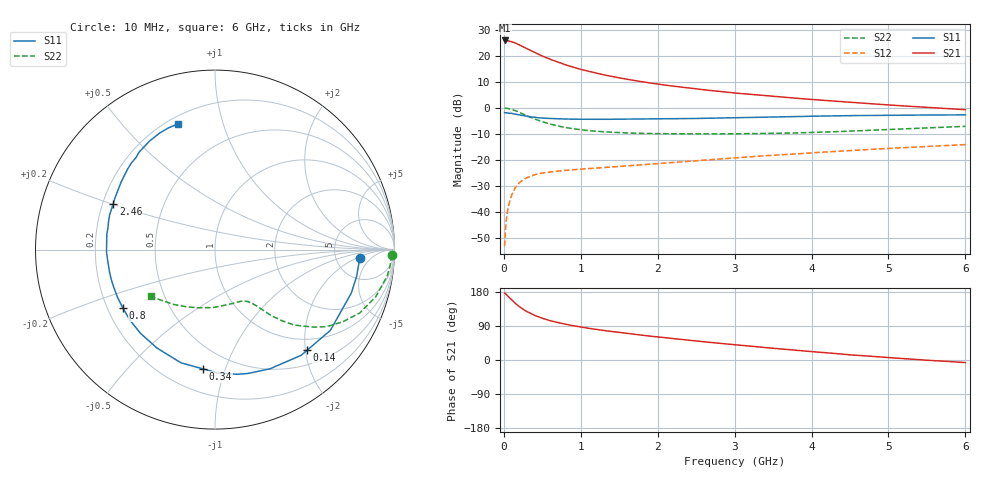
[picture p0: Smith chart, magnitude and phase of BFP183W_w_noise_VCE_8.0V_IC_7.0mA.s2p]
! Infineon Technologies  Discrete & RF Semiconductors
! BFP183W
! VCE = 8.0 V,  IC =  7.0 mA
! Common Emitter S-Parameters:  Jan 2016
# GHz  S  MA  R  50
!  f  S11  S21  S12  S22
! GHz  MAG  ANG  MAG  ANG  MAG  ANG  MAG  ANG
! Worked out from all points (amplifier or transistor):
!   210 points, 10 MHz to 6 GHz, reference 50 ohm
!   highest |S21| = 25.8 dB at 10 MHz (marker M1)
!   |S21| within 3 dB of that: start of sweep to 290.5 MHz
!   unconditionally stable (mu >= 1): 1.64 GHz to 5.863 GHz
!   at 185 MHz: K = 0.17, MSG = 26.9 dB, |S12| = -29.4 dB
!   at 1.52 GHz: K = 0.96, MSG = 16.9 dB, |S12| = -22.5 dB
!   at 6 GHz: K = 0.99, MSG = 6.7 dB, |S12| = -14.1 dB
!   lowest NFmin = 1.25 dB at 450 MHz
!   S11 on the Smith chart (normalised r, x): 10 MHz: 8.70, -2.47; 140 MHz: 0.76, -2.03; 340 MHz: 0.35, -0.84; 800 MHz: 0.26, -0.27; 2.46 GHz: 0.24, +0.20; 6 GHz: 0.24, +0.72
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0.01  0.8079 -3.5  19.6 176.6  0.0022 85.1  0.9867 -1.8
0.02  0.8035 -7.2  19.56 175.5  0.0043 84.1  0.9812 -3.5
0.05  0.7971 -17.7  19.37 169.1  0.0109 79.0  0.9711 -8.6
0.1  0.7847 -35.0  18.59 158.9  0.0206 72.1  0.9331 -16.4
0.14  0.7601 -47.6  17.68 151.2  0.0276 65.9  0.8894 -22.2
0.15  0.7598 -50.8  17.51 149.2  0.0294 64.8  0.88 -23.7
0.2  0.7315 -65.2  16.21 140.9  0.036 58.7  0.8183 -29.4
0.22  0.7201 -70.1  15.67 138.2  0.0382 56.4  0.7941 -31.3
0.3  0.6871 -88.8  13.64 127.6  0.0455 49.1  0.7006 -38.1
0.34  0.6679 -95.8  12.75 124.0  0.0479 46.5  0.6629 -40.2
0.4  0.6587 -106.7  11.53 117.7  0.0517 43.0  0.6082 -43.7
0.5  0.6366 -120.5  9.846 109.9  0.0559 39.1  0.5383 -47.0
0.6  0.6246 -131.7  8.536 103.8  0.0586 36.8  0.4864 -49.4
0.8  0.6078 -147.5  6.681 94.3  0.0627 34.9  0.4176 -52.2
1.02  0.6014 -160.1  5.363 86.5  0.0666 34.5  0.3754 -54.6
1.42  0.6024 -176.4  3.946 74.8  0.0733 35.7  0.3378 -58.6
2.02  0.6125 165.9  2.823 60.5  0.085 38.7  0.3185 -66.4
2.46  0.6217 155.8  2.339 51.1  0.0951 40.2  0.3152 -73.6
3.1  0.6471 142.8  1.867 38.5  0.1118 41.0  0.3172 -85.3
4.1  0.6912 126.5  1.411 20.6  0.1393 39.8  0.3387 -107.2
5.1  0.7203 114.4  1.108 5.0  0.1685 36.5  0.387 -128.9
6  0.7303 106.4  0.918 -6.8  0.1962 33.0  0.4403 -143.9
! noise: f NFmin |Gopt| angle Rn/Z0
0.45  1.25  0.18  42  0.22
0.9  1.3  0.22  110  0.2
1.8  2  0.33  180  0.14
